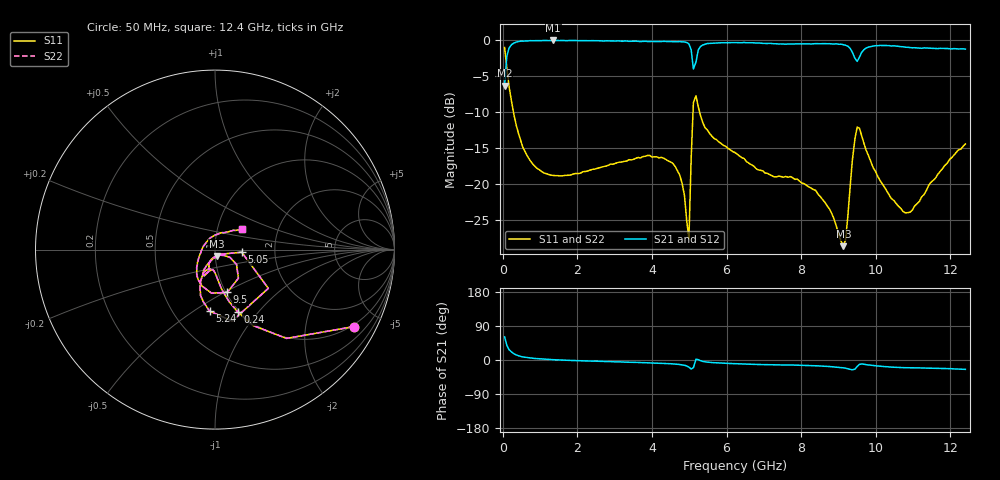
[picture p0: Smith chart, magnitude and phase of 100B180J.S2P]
!  American Technical Ceramics  Date:  3/13/98
!  One Norden Lane
!  Huntington Station,  NY.  11746-2102
!  Tel:  (516) 547-5700  Fax:  (516) 547-5748
!  Part Number  100b180j
!  Description: Porcelain, High Q, Low ESR
!  Application: Bypass, Coupling, Timing, Feedback
!  Tuning, Impedance Match, Blocking
# GHZ S DB R 50
! Freq  |S11|  S11 Ph  |S21|  S21 Ph  |S12|  S12 Ph  |S22|  S22 Ph
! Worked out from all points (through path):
!   201 points, 50 MHz to 12.4 GHz, reference 50 ohm
!   highest |S21| = -0.07 dB at 1.35 GHz (marker M1); lowest = -6.4 dB at 50 MHz (marker M2)
!   group delay of S21, straight-line fit = 7.13 ps
!   lowest |S11| = -28.7 dB at 9.13 GHz (marker M3), VSWR 1.08, Z = 51 - j3.59 ohm
!   |S11| at or under -10 dB: 286.4 MHz to 5.1 GHz (4.814 GHz wide, 179 % of centre); 5.276 GHz to end of sweep
!   |S22| runs from -28.7 to -1.1 dB; largest |S21 - S12| = 0
!   S11 on the Smith chart (normalised r, x): 50 MHz: 0.92, -3.65; 240 MHz: 0.98, -0.78; 5.05 GHz: 1.35, -0.04; 5.24 GHz: 0.75, -0.58; 9.5 GHz: 1.02, -0.52; 12.4 GHz: 1.32, +0.31
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0.05  -1.06 -29.0  -6.35 61.2  -6.35 61.2  -1.06 -29.0
0.11  -3.94 -51.1  -2.25 38.8  -2.25 38.8  -3.94 -51.1
0.24  -8.67 -70.0  -0.64 20.7  -0.64 20.7  -8.67 -70.0
0.67  -16.23 -86.2  -0.14 6.2  -0.14 6.2  -16.23 -86.2
1.35  -18.82 -95.8  -0.07 0.8  -0.07 0.8  -18.82 -95.8
2.15  -18.30 -103.2  -0.09 -2.2  -0.09 -2.2  -18.30 -103.2
4.19  -16.40 -115.9  -0.23 -8.4  -0.23 -8.4  -16.40 -115.9
4.74  -18.74 -118.2  -0.22 -11.8  -0.22 -11.8  -18.74 -118.2
4.99  -27.64 -38.5  -0.54 -18.8  -0.54 -18.8  -27.64 -38.5
5.05  -16.50 -5.5  -1.35 -23.7  -1.35 -23.7  -16.50 -5.5
5.11  -8.70 -36.0  -4.04 -20.2  -4.04 -20.2  -8.70 -36.0
5.18  -7.76 -76.6  -3.04 2.1  -3.04 2.1  -7.76 -76.6
5.24  -9.27 -95.0  -1.39 0.8  -1.39 0.8  -9.27 -95.0
6.23  -15.66 -115.3  -0.38 -9.7  -0.38 -9.7  -15.66 -115.3
8.32  -20.77 -110.9  -0.53 -15.1  -0.53 -15.1  -20.77 -110.9
9.13  -28.66 -72.3  -0.67 -20.7  -0.67 -20.7  -28.66 -72.3
9.37  -16.74 -34.5  -1.71 -25.9  -1.71 -25.9  -16.74 -34.5
9.5  -12.11 -74.0  -2.98 -17.0  -2.98 -17.0  -12.11 -74.0
9.68  -14.36 -119.6  -1.35 -11.2  -1.35 -11.2  -14.36 -119.6
10.36  -21.58 -166.1  -0.79 -18.4  -0.79 -18.4  -21.58 -166.1
10.92  -23.93 131.1  -1.06 -20.5  -1.06 -20.5  -23.93 131.1
12.4  -14.46 36.6  -1.27 -24.7  -1.27 -24.7  -14.46 36.6
